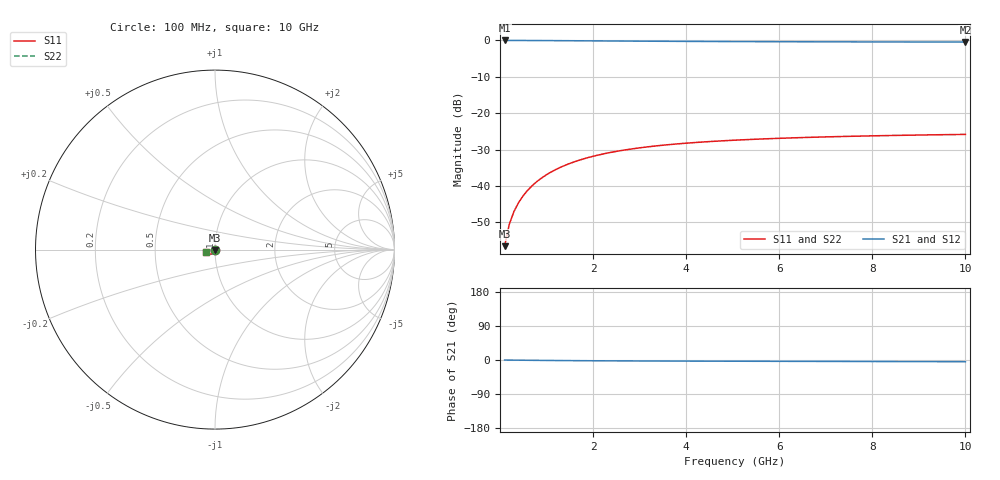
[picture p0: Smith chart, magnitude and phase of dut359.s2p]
! Touchstone file exported from HFSS 2024.1.0
!  File:  C:/UserFiles/LocalFiles/RDL_TSV_Batchsim/temp_TSV1_359_1779620727.aedt
!  Generated:  07:11:16 PM May 24, 2026
!  Design:  TSV1
!  Project:  temp_TSV1_359_1779620727
!  Setup:  Setup1
!  Solution:  Sweep
! Variables:
!  dtsv = 14.08um
!  hbump = 3um
!  htsv = 66.93um
!  lrdl = 252.1521522um
!  p = 40
!  p1 = 49.89um
!  t = 500um
!  trdl = 3um
!  wrdl = 24.89489489um
# GHz S MA R 50.000000
! Terminal data exported
! Port[1] = TSV22_T1
! Port[2] = TSV22_T2
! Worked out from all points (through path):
!   100 points, 100 MHz to 10 GHz, reference 50 ohm
!   highest |S21| = 0.00 dB at 100 MHz (marker M1); lowest = -0.4 dB at 10 GHz (marker M2)
!   lowest |S11| = -56.6 dB at 100 MHz (marker M3), VSWR 1.00, Z = 50 - j0.148 ohm
!   |S11| at or under -10 dB: start of sweep to end of sweep
!   |S22| runs from -56.6 to -25.8 dB; largest |S21 - S12| = 8.9e-15
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0.1  0.001482 -88.8  0.9999 -0.1  0.9999 -0.1  0.001482 -88.8
! Gamma 0 0 0 0
! Port Impedance 50 0 50 0
0.2  0.002958 -92.0  0.9997 -0.2  0.9997 -0.2  0.002958 -92.0
0.3  0.004429 -94.3  0.9995 -0.4  0.9995 -0.4  0.004429 -94.3
0.4  0.00589 -96.3  0.9992 -0.5  0.9992 -0.5  0.00589 -96.3
0.5  0.007338 -98.1  0.9988 -0.6  0.9988 -0.6  0.007338 -98.1
0.6  0.008767 -99.9  0.9983 -0.7  0.9983 -0.7  0.008767 -99.9
0.7  0.01017 -101.6  0.9977 -0.8  0.9977 -0.8  0.01017 -101.6
0.8  0.01156 -103.3  0.9971 -0.9  0.9971 -0.9  0.01156 -103.3
0.9  0.01291 -104.9  0.9964 -1.1  0.9964 -1.1  0.01291 -104.9
1.1  0.01553 -108.1  0.9949 -1.3  0.9949 -1.3  0.01553 -108.1
1.4  0.01919 -112.6  0.9924 -1.5  0.9924 -1.5  0.01919 -112.6
1.6  0.02145 -115.4  0.9905 -1.7  0.9905 -1.7  0.02145 -115.4
1.8  0.02355 -118.1  0.9887 -1.9  0.9887 -1.9  0.02355 -118.1
2.1  0.02644 -121.8  0.9859 -2.1  0.9859 -2.1  0.02644 -121.8
2.5  0.02981 -126.3  0.9823 -2.3  0.9823 -2.3  0.02981 -126.3
2.9  0.03268 -130.3  0.9789 -2.5  0.9789 -2.5  0.03268 -130.3
3.4  0.0357 -134.7  0.975 -2.7  0.975 -2.7  0.0357 -134.7
4.2  0.03949 -140.6  0.9696 -3.0  0.9696 -3.0  0.03949 -140.6
5.1  0.04268 -145.9  0.9647 -3.3  0.9647 -3.3  0.04268 -145.9
6.7  0.04659 -153.0  0.9584 -3.7  0.9584 -3.7  0.04659 -153.0
8.4  0.0493 -158.7  0.9539 -4.1  0.9539 -4.1  0.0493 -158.7
10  0.05104 -163.0  0.9509 -4.5  0.9509 -4.5  0.05104 -163.0
